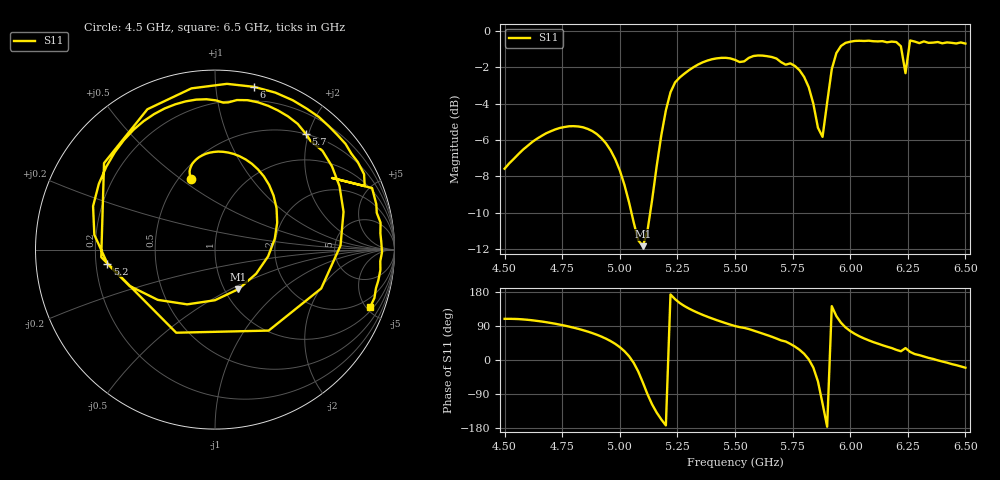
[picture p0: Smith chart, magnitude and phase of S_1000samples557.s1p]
! TOUCHSTONE file generated by CST MICROWAVE STUDIO
! Date and time: Fri Oct 28 14:24:34 2022
! Project name: L.cst
! Parameters = {Di=1.27; Epsilon_r=1.56; InnerDiameter=1.27; Length=2; Lf=10; Lg=60; OuterConductorThickness=0.2921; OuterDiameter=3.6; Wf=3; Wp=41.2; de=1.5; df=6.8; g=0.8; gx=0.913897; gy=2.56046; h=2.34; hf=1.524; px=13.906; py=9.90108; w=9.7; wx=12.9921; wy=7.34062}
! Header version: 2018
! Port assignment regex: !\s*Touchstone port\s*([0-9]+)\s*=\s*(CST MWS port|CST DS port)\s*([0-9]+|Zmin|Zmax)\s*\(\"(.*)\"\)(\s*mode\s*([0-9]+))?.*
! Touchstone port assignment:
! Touchstone port 1 = CST MWS port 1 ("")
# GHz S DB R 50
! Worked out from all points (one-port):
!   101 points, 4.5 GHz to 6.5 GHz, reference 50 ohm
!   lowest |S11| = -11.8 dB at 5.1 GHz (marker M1), VSWR 1.69, Z = 58.1 - j27.4 ohm
!   |S11| at or under -10 dB: 5.051 GHz to 5.132 GHz (81.24 MHz wide, 1.6 % of centre)
!   S11 on the Smith chart (normalised r, x): 4.5 GHz: 0.57, +0.55; 5.2 GHz: 0.25, -0.06; 5.7 GHz: 0.50, +1.96; 6 GHz: 0.09, +1.26; 6.5 GHz: 1.25, -5.30
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4.5  -7.58 108.6
4.76  -5.29 90.8
4.9  -5.67 66.7
5  -7.67 33.9
5.06  -10.51 -7.3
5.1  -11.83 -59.3
5.16  -7.45 -138.7
5.2  -4.37 -172.6
5.26  -2.57 150.5
5.38  -1.64 114.3
5.5  -1.60 89.7
5.6  -1.36 73.7
5.7  -1.73 51.7
5.76  -1.94 35.5
5.8  -2.54 16.4
5.84  -4.01 -20.1
5.86  -5.33 -56.5
5.88  -5.83 -115.0
5.9  -3.94 -176.2
5.92  -2.12 142.1
5.94  -1.23 115.7
5.96  -0.84 98.3
6  -0.61 76.5
6.14  -0.58 39.0
6.22  -0.86 23.0
6.24  -2.33 31.5
6.26  -0.54 21.4
6.5  -0.71 -20.3
